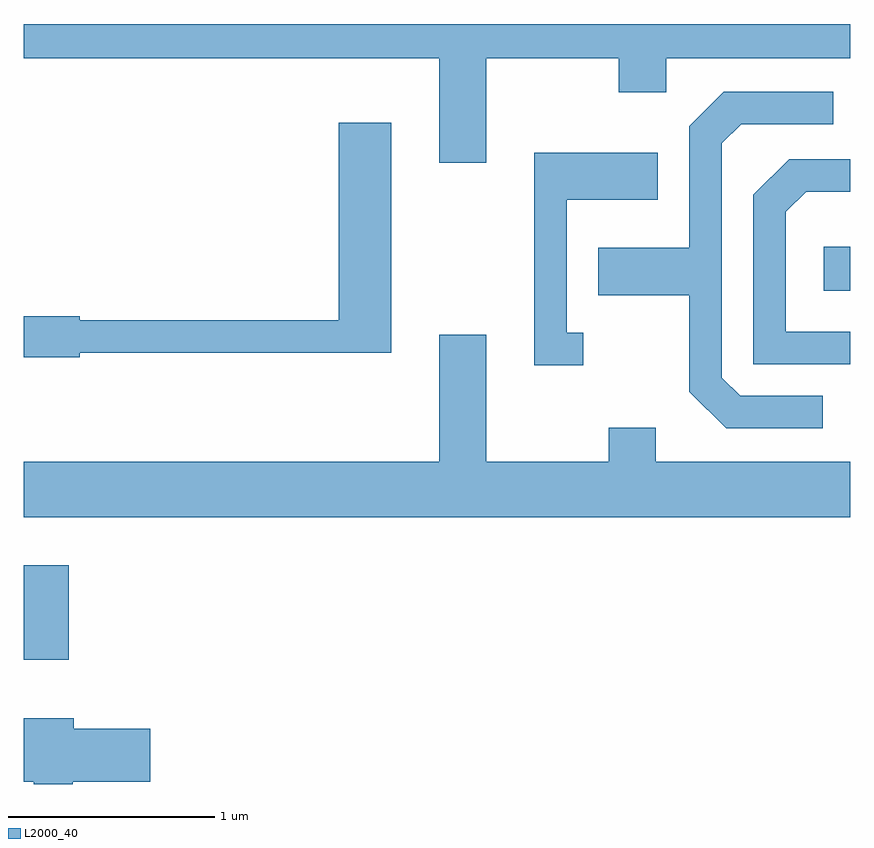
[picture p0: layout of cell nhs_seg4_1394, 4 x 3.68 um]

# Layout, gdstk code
import gdstk
lib = gdstk.Library(unit=1e-6, precision=1e-09)
def R(c, l, rs):  # rectangles x0, y0, x1, y1
    for r in rs: c.add(gdstk.rectangle(r[:2], r[2:], *l))
def P(c, l, *ps):  # polygons
    for p in ps: c.add(gdstk.Polygon(p, *l))
L2000_40 = (2000, 40)

nhs_seg4_1394 = lib.new_cell('nhs_seg4_1394')
R(nhs_seg4_1394, L2000_40, [(225.611,1322.906,225.829,1323.364), (229.481,1324.691,229.611,1324.904)])
P(nhs_seg4_1394, L2000_40, [(227.849,1325.816),(228.491,1325.816),(228.491,1325.651),(228.719,1325.651),(228.719,1325.816),(229.611,1325.816),(229.611,1325.982),(225.611,1325.982),(225.611,1325.816),(227.621,1325.816),(227.621,1325.311),(227.849,1325.311)],
  [(229.478,1324.184),(229.077,1324.184),(228.989,1324.272),(228.989,1325.404),(229.082,1325.496),(229.528,1325.496),(229.528,1325.654),(228.999,1325.654),(228.831,1325.487),(228.831,1324.899),(228.391,1324.899),(228.391,1324.671),(228.831,1324.671),(228.831,1324.204),(229.009,1324.026),(229.478,1324.026)],
  [(225.884,1324.391),(227.389,1324.391),(227.389,1325.504),(227.136,1325.504),(227.136,1324.549),(225.884,1324.549),(225.884,1324.569),(225.611,1324.569),(225.611,1324.371),(225.884,1324.371)],
  [(228.318,1324.489),(228.239,1324.489),(228.239,1325.131),(228.679,1325.131),(228.679,1325.359),(228.081,1325.359),(228.081,1324.331),(228.318,1324.331)],
  [(229.611,1324.494),(229.299,1324.494),(229.299,1325.074),(229.397,1325.171),(229.611,1325.171),(229.611,1325.329),(229.314,1325.329),(229.141,1325.157),(229.141,1324.336),(229.611,1324.336)],
  [(229.611,1323.864),(228.669,1323.864),(228.669,1324.029),(228.441,1324.029),(228.441,1323.864),(227.849,1323.864),(227.849,1324.479),(227.621,1324.479),(227.621,1323.864),(225.611,1323.864),(225.611,1323.596),(229.611,1323.596)],
  [(225.85,1322.316),(226.224,1322.316),(226.224,1322.574),(225.854,1322.574),(225.854,1322.624),(225.611,1322.624),(225.611,1322.316),(225.66,1322.316),(225.66,1322.306),(225.85,1322.306)])

lib.write_gds('nhs_seg4_1394.gds')
